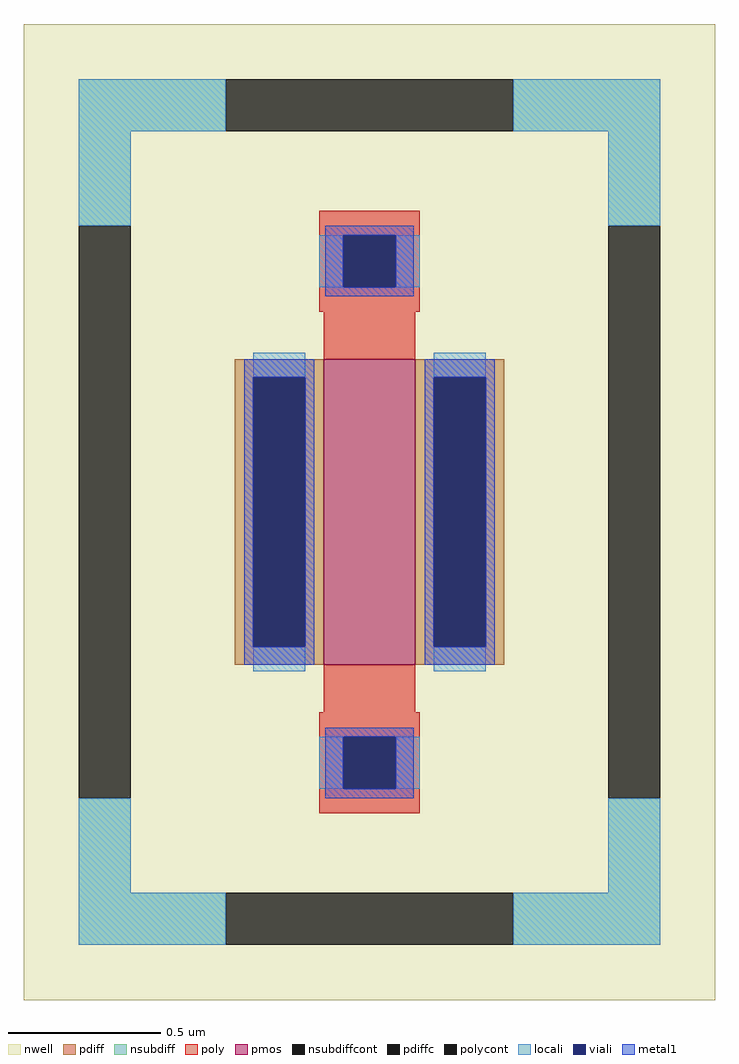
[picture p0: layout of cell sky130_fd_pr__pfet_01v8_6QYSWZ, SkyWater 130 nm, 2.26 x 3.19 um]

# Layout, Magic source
magic
tech sky130A
magscale 1 2
<< nwell >>
rect -226 -319 226 319
<< pmos >>
rect -30 -100 30 100
<< pdiff >>
rect -88 88 -30 100
rect -88 -88 -76 88
rect -42 -88 -30 88
rect -88 -100 -30 -88
rect 30 88 88 100
rect 30 -88 42 88
rect 76 -88 88 88
rect 30 -100 88 -88
<< pdiffc >>
rect -76 -88 -42 88
rect 42 -88 76 88
<< nsubdiff >>
rect -190 249 -94 283
rect 94 249 190 283
rect -190 187 -156 249
rect 156 187 190 249
rect -190 -249 -156 -187
rect 156 -249 190 -187
rect -190 -283 -94 -249
rect 94 -283 190 -249
<< nsubdiffcont >>
rect -94 249 94 283
rect -190 -187 -156 187
rect 156 -187 190 187
rect -94 -283 94 -249
<< poly >>
rect -33 181 33 197
rect -33 147 -17 181
rect 17 147 33 181
rect -33 131 33 147
rect -30 100 30 131
rect -30 -131 30 -100
rect -33 -147 33 -131
rect -33 -181 -17 -147
rect 17 -181 33 -147
rect -33 -197 33 -181
<< polycont >>
rect -17 147 17 181
rect -17 -181 17 -147
<< locali >>
rect -190 249 -94 283
rect 94 249 190 283
rect -190 187 -156 249
rect 156 187 190 249
rect -33 147 -17 181
rect 17 147 33 181
rect -76 88 -42 104
rect -76 -104 -42 -88
rect 42 88 76 104
rect 42 -104 76 -88
rect -33 -181 -17 -147
rect 17 -181 33 -147
rect -190 -249 -156 -187
rect 156 -249 190 -187
rect -190 -283 -94 -249
rect 94 -283 190 -249
<< viali >>
rect -17 147 17 181
rect -76 -88 -42 88
rect 42 -88 76 88
rect -17 -181 17 -147
<< metal1 >>
rect -29 181 29 187
rect -29 147 -17 181
rect 17 147 29 181
rect -29 141 29 147
rect -82 88 -36 100
rect -82 -88 -76 88
rect -42 -88 -36 88
rect -82 -100 -36 -88
rect 36 88 82 100
rect 36 -88 42 88
rect 76 -88 82 88
rect 36 -100 82 -88
rect -29 -147 29 -141
rect -29 -181 -17 -147
rect 17 -181 29 -147
rect -29 -187 29 -181
<< properties >>
string FIXED_BBOX -173 -266 173 266
string gencell sky130_fd_pr__pfet_01v8
string library sky130
string parameters w 1.0 l 0.3 m 1 nf 1 diffcov 100 polycov 100 guard 1 glc 1 grc 1 gtc 1 gbc 1 tbcov 100 rlcov 100 topc 1 botc 1 poverlap 0 doverlap 1 lmin 0.15 wmin 0.42 compatible {sky130_fd_pr__pfet_01v8  sky130_fd_pr__pfet_01v8_lvt sky130_fd_pr__pfet_01v8_hvt  sky130_fd_pr__pfet_g5v0d10v5} full_metal 1 viasrc 100 viadrn 100 viagate 100 viagb 0 viagr 0 viagl 0 viagt 0
<< end >>
